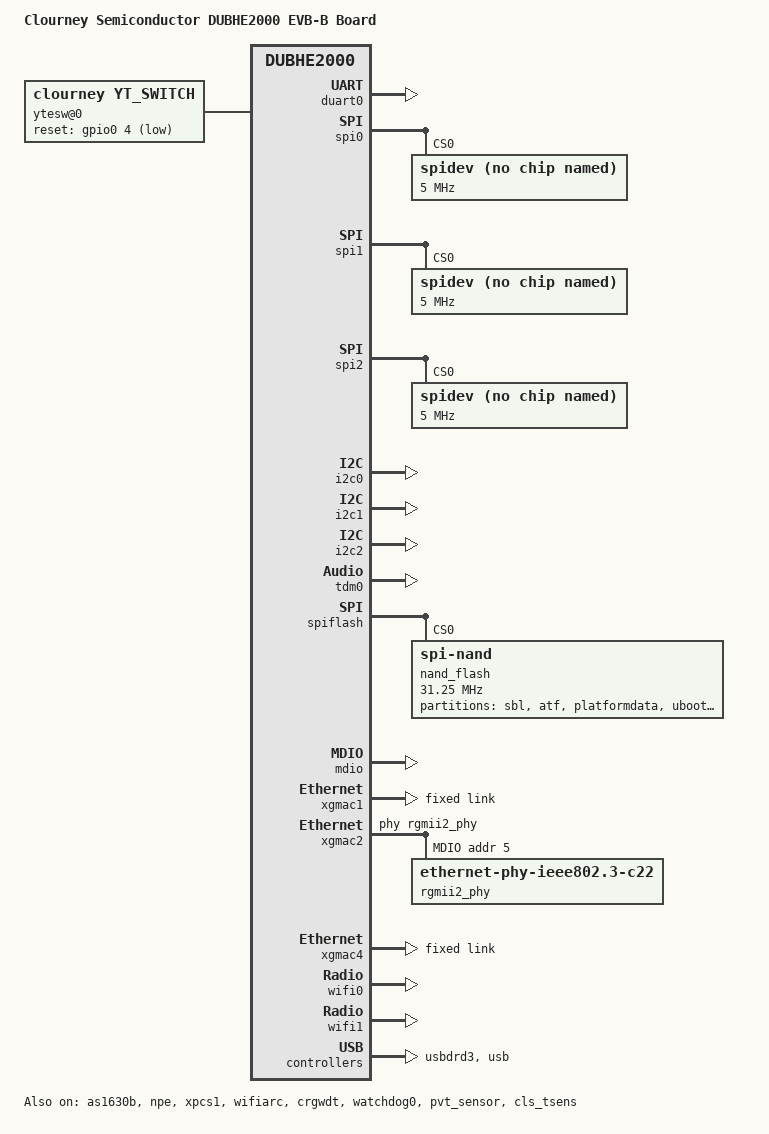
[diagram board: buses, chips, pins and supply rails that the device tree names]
// SPDX-License-Identifier: (GPL-2.0+ OR MIT)
/*
 * Device Tree Include file for Clourney dubhe2000 family SoC.
 *
 * Copyright (C) 2022-2024 Clourney Semiconductor - All Rights Reserved.
 *
 */

/dts-v1/;
#include "clourney-dubhe2000.dtsi"

/ {
	model = "Clourney Semiconductor DUBHE2000 EVB-B Board";
	compatible = "clsemi,dubhe2000-evb-b", "clsemi,dubhe2000";

	aliases {
		serial0 = &duart0;
		spidev0 = &spi0;
                spidev1 = &spi1;
		spidev2 = &spi2;
		spinand = &spiflash;
	};

	chosen {
		stdout-path = "serial0:115200n8";
	};
	 ytesw@0 {
		compatible = "clourney,yt_switch";
		mdio-bus = <&mdio>;
		port-isolation="xooooox";
		/* rgmii. txc delay = txc_2ns_en * 2ns + txc_delay * 0.15ns;rxc delay = rxc_delay * 0.15ns */
		rgmii-rxc_delay = <1>;
		rgmii-txc_delay = <2>;
		rgmii-txc_2ns_en = <1>;
		reset-gpio = <&gpio0 4 GPIO_ACTIVE_LOW>;
	};
};

&duart0 {
	status = "ok";
};

&spi0 {
	status = "ok";
	spidev@0 {
		spi-max-frequency = <5000000>;
		reg = <0>;
		compatible = "linux,spidev";
	};
};

&spi1 {
	status = "ok";
	spidev@0 {
		spi-max-frequency = <5000000>;
		reg = <0>;
		compatible = "linux,spidev";
	};
};

&spi2 {
	status = "ok";
	spidev@0 {
		spi-max-frequency = <5000000>;
		reg = <0>;
		compatible = "linux,spidev";
	};
};

&i2c0 {
        label = "I2C0";
        status = "okay";
};

&i2c1 {
	label = "I2C1";
	status = "okay";
};

&i2c2 {
        label = "I2C2";
        status = "okay";
};


&as1630b {
        status = "okay";
};

&i2s0 {
        #sound-dai-cells = <0>;
        top_sysclk_frequence = <49152000>;
        status = "disabled";
};

&tdm0 {
        #sound-dai-cells = <0>;
        snps,tdm-slots = <8>;
        top_sysclk_frequence = <49152000>;
        status = "okay";
};

&sound0 {
        status = "okay";
        simple-audio-card,format = "dsp_a";
        simple-audio-card,name = "slic-tdm8";

        simple-audio-card,cpu {
                sound-dai = <&tdm0>;
                frame-master;
                bitclock-master;
        };

        simple-audio-card,codec {
                sound-dai = <&as1630b>;
        };
};

&spiflash {
	rx-sample-delay-ns = <8>;
	status = "ok";

	nand_flash: flash@0 {
		compatible = "spi-nand";
		/* Avoid interference with 5G and 2.4G, not setting clk to  41.67MHz  */
		spi-max-frequency = <31250000>;
		reg = <0>;
		#address-cells = <1>;
		#size-cells = <1>;

		/*0.5MB*/
		partition@0 {
			label = "sbl";
			reg = <0x0 0x80000>;
		};

		/*0.5MB*/
		partition@1 {
			label = "atf";
			reg = <0x80000 0x80000>;
		};

		/*1MB*/
		partition@2 {
			label = "platformdata";
			reg = <0x100000 0x100000>;
		};

		/*2MB*/
		partition@3 {
			label = "uboot";
			reg = <0x200000 0x200000>;
		};

		/*1MB*/
		partition@4 {
			label = "caldata";
			reg = <0x400000 0x100000>;
		};

		/*1MB*/
		partition@5 {
			label = "caldata2";
			reg = <0x500000 0x100000>;
		};

		/*1.5MB*/
                partition@6 {
                        label = "ubootenv";
                        reg = <0x600000 0x180000>;
                };

		/*1.5MB*/
                partition@7 {
                        label = "boarddata";
                        reg = <0x780000 0x180000>;
                };

		/*32MB*/
                partition@8 {
                        label = "fw1";
                        reg = <0x900000 0x2000000>;
                };

		/*32MB*/
                partition@9 {
                        label = "fw2";
                        reg = <0x2900000 0x2000000>;
                };

		/*55MB*/
                partition@10 {
                        label = "reserved";
                        reg = <0x4900000 0x3700000>;
                };
	};
};

&npe  {
	status = "ok";
	switch-pause = <4>;

	mdio: mdio {
		compatible = "clourney,mdio";
		#address-cells = <1>;
		#size-cells = <0>;
		device_type = "mdio";
		id = <0>;
		clk_csr = <1>;
		status = "okay";
		regs,phys_reset_init = <0x90410054 0xFFFF 0x6008>;
	};
};
&xpcs0 {
	status = "disabled";
};

&xpcs1 {
	phy-mode = "2500base-x";
	status = "okay";
};
&xgmac0 {
	status = "disabled";
};

&xgmac1 {
	mode = "non-rgmii";
	mac-address = [a0 c0 ab 39 cc f3];
	max-speed = <2500>;
	status = "okay";
	fixed-link {
		speed = <2500>;
		full-duplex;
		pause;
	};
};

&xgmac2 {
	mode = "rgmii";
	max-speed = <1000>;
	rgmii-rx-delay;
	phy-handle = <&rgmii2_phy>;
	rgmii-rx-delay = <1>;
	status = "okay";
	mdio@2 {
	compatible = "clourney,mdio";
	#address-cells = <1>;
	#size-cells = <0>;
	device_type = "mdio";
	pse-bitmap = <0>;
	status = "okay";
	clk_csr = <1>;
	regs,phys_reset_init = <0x90420090 0x6 0x6>,
				<0x90420094 0xF 0x2>;
	rgmii2_phy: ethernet-phy@5 {
		compatible = "ethernet-phy-ieee802.3-c22";
		reg = <0x5>;
		};
	};
};

&xgmac3 {
	status = "disabled";
};

&xgmac4 {
	mode = "rgmii";
	max-speed = <1000>;
	rgmii-rx-delay = <0>;
	rgmii-tx-delay = <2>;
	status = "okay";
	fixed-link {
		speed = <1000>;
		full-duplex;
		pause;
	};
};

&wifi0 { status = "ok"; };

&wifi1 { status = "ok"; };

&wifiarm { status = "disabled"; };

&wifiarc { status = "ok"; };

&crgwdt {
        timeout-sec = <WDT_TIMEOUT_S>;
        status = "ok";
};

&watchdog0 {
	timeout-sec = <WDT_TIMEOUT_S>;
	status = "ok";
};

&usbdrd3 { status = "ok";};

&usb {status = "ok"; };

&pvt_sensor {
	status = "ok";
        // T2
        temp_rise_alarm2_L = "102000";
        temp_rise_alarm2_H = "110000";
        temp_fall_alarm2_H = "110000";
        temp_fall_alarm2_L = "102000";
        // T0
        temp_rise_alarm0_L = "110000";
        temp_rise_alarm0_H = "118000";
        temp_fall_alarm0_H = "118000";
        temp_fall_alarm0_L = "110000";
        // T1
        temp_rise_alarm1_L = "118000";
        temp_rise_alarm1_H = "126000";
        temp_fall_alarm1_H = "126000";
        temp_fall_alarm1_L = "118000";
};

&cls_tsens {
	status = "ok";
        // T2
        temp_rise_alarm2_L = "102000";
        temp_rise_alarm2_H = "110000";
        temp_fall_alarm2_H = "110000";
        temp_fall_alarm2_L = "102000";
        // T0
        temp_rise_alarm0_L = "110000";
        temp_rise_alarm0_H = "118000";
        temp_fall_alarm0_H = "118000";
        temp_fall_alarm0_L = "110000";
        // T1
        temp_rise_alarm1_L = "118000";
        temp_rise_alarm1_H = "126000";
        temp_fall_alarm1_H = "126000";
        temp_fall_alarm1_L = "118000";
};

